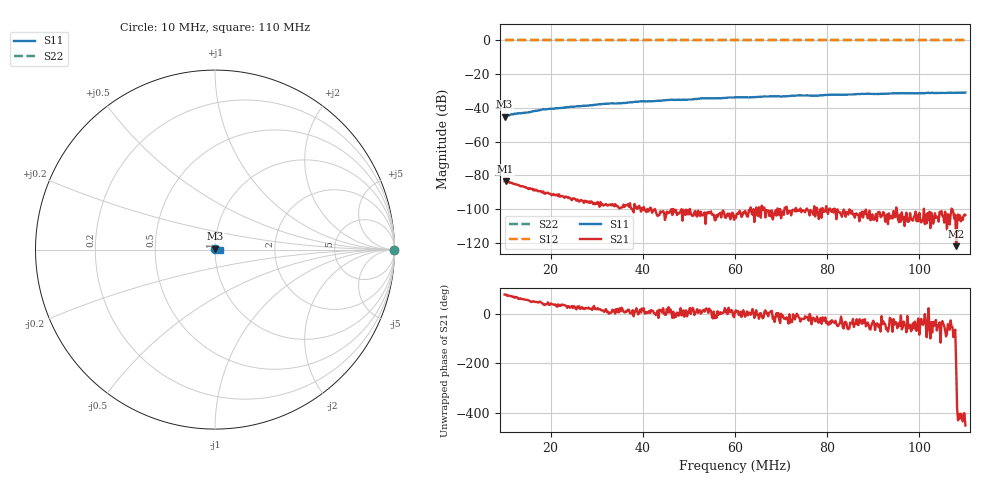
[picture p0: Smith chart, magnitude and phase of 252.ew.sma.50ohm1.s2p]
! Anritsu VNA Master:  Model: MS2036C/10/77
! SN:  1601066
! /card0/usr/50ohm1.s2p
! Existing Calibration Information:
! TYPE:  Current Settings,  Active Cal Settings
! TIME:  12/20/2017 03:46:22 PM,  12/20/2017 03:36:34 PM
! INTERNAL TEMP:  44.5 C,  44.5 C
! # POINTS:  501,  501
! START FREQ:  10.000 MHz,  10.000 MHz
! STOP FREQ:  110.000 MHz,  110.000 MHz
! SOURCE POWER:  High,  High
! IFBW:  100 Hz,  100 Hz
! AVG FACTOR:  1 ,  1
! REF PLANE 1:  0 mm,  0 mm
! REF PLANE 2:  0 mm,  0 mm
! CAL TYPE:  Full S11,  Full S11
! CAL METHOD:  SOLT,  SOLT
! CAL LINE TYPE:  Coax,  Coax
! DUT PORT 1:  K-Conn(F),  K-Conn(F)
! DUT PORT 2:  K-Conn(F),  K-Conn(F)
! CAL STATUS:  OK: Accuracy High,  --
# GHZ S DB R 50.0
! FREQ.GHZ  S11DB  S11A  S21DB  S21A  S12DB  S12A  S22DB  S22A
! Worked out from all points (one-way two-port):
!   501 points, 10 MHz to 110 MHz, reference 50 ohm
!   highest |S21| = -83.50 dB at 10.2 MHz (marker M1); lowest = -122.1 dB at 108 MHz (marker M2)
!   lowest |S11| = -45.2 dB at 10 MHz (marker M3), VSWR 1.01, Z = 50.3 + j0.478 ohm
!   |S11| at or under -10 dB: start of sweep to end of sweep
!   |S22| runs from 0.0 to 0.0 dB; largest |S21 - S12| = 1
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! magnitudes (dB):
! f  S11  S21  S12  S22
! 10 MHz  -45.2  -83.6  0.0  0.0
! 10.2 MHz  -44.9  -83.5  0.0  0.0
! 11.8 MHz  -43.8  -84.9  0.0  0.0
! 15.2 MHz  -42.7  -88.2  0.0  0.0
! 18.4 MHz  -40.9  -89.6  0.0  0.0
! 26.8 MHz  -38.9  -95.1  0.0  0.0
! 32.6 MHz  -37.4  -97.5  0.0  0.0
! 35.6 MHz  -37.1  -98.9  0.0  0.0
! 39.2 MHz  -36.2  -98.2  0.0  0.0
! 43.4 MHz  -35.8  -103.8  0.0  0.0
! 46 MHz  -35.2  -100.9  0.0  0.0
! 50.2 MHz  -35.1  -100.0  0.0  0.0
! 53 MHz  -34.3  -103.7  0.0  0.0
! 56.8 MHz  -34.3  -102.3  0.0  0.0
! 60 MHz  -33.8  -104.1  0.0  0.0
! 70.6 MHz  -33.2  -103.5  0.0  0.0
! 74 MHz  -32.6  -101.1  0.0  0.0
! 76.8 MHz  -32.7  -102.0  0.0  0.0
! 81.4 MHz  -32.2  -102.2  0.0  0.0
! 93.4 MHz  -31.6  -102.6  0.0  0.0
! 108 MHz  -30.9  -122.1  0.0  0.0
! 110 MHz  -30.9  -103.6  0.0  0.0
